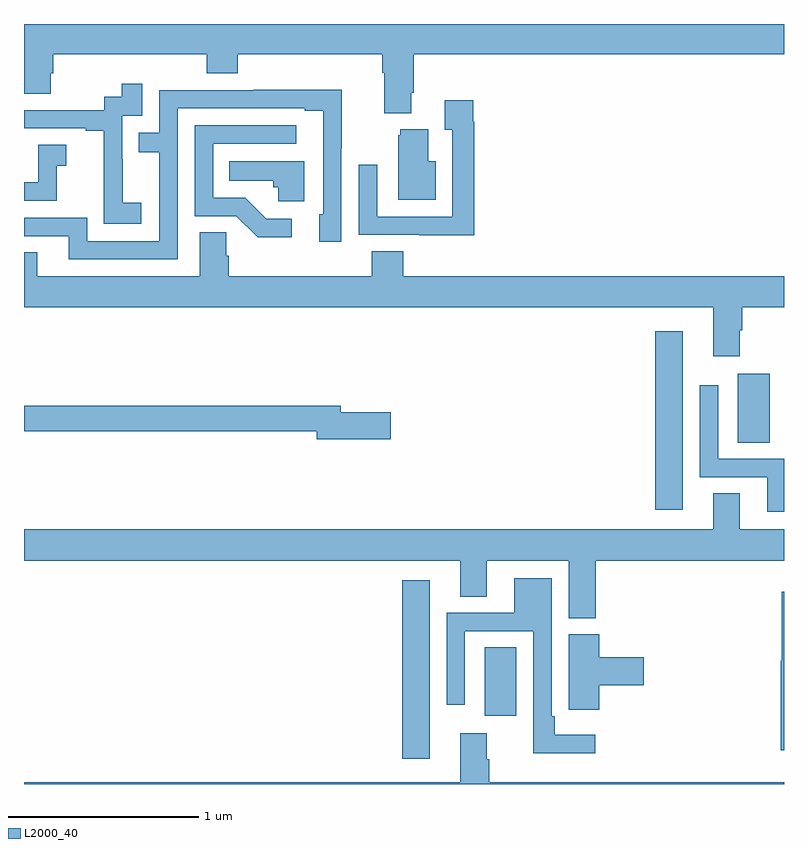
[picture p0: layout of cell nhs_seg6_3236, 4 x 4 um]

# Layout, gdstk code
import gdstk
lib = gdstk.Library(unit=1e-6, precision=1e-09)
def R(c, l, rs):  # rectangles x0, y0, x1, y1
    for r in rs: c.add(gdstk.rectangle(r[:2], r[2:], *l))
def P(c, l, *ps):  # polygons
    for p in ps: c.add(gdstk.Polygon(p, *l))
L2000_40 = (2000, 40)

nhs_seg6_3236 = lib.new_cell('nhs_seg6_3236')
R(nhs_seg6_3236, L2000_40, [(302.99,939.633,303.136,940.573), (303.425,939.858,303.592,940.22), (304.322,940.944,304.468,941.884), (304.757,941.296,304.924,941.659)])
P(nhs_seg6_3236, L2000_40, [(301,943.132),(301.141,943.132),(301.141,943.242),(301.154,943.242),(301.154,943.34),(301.961,943.34),(301.961,943.241),(302.126,943.241),(302.126,943.34),(302.885,943.34),(302.885,943.244),(302.897,943.244),(302.897,943.031),(303.037,943.031),(303.037,943.138),(303.05,943.138),(303.05,943.34),(305,943.34),(305,943.5),(301,943.5)],
  [(301.618,942.559),(301.52,942.559),(301.52,942.788),(301.518,942.788),(301.518,943.017),(301.623,943.017),(301.623,943.186),(301.515,943.186),(301.515,943.116),(301.422,943.116),(301.422,943.047),(301,943.047),(301,942.951),(301.325,942.951),(301.325,942.939),(301.421,942.939),(301.421,942.655),(301.42,942.655),(301.42,942.449),(301.618,942.449)],
  [(301.809,943.056),(302.477,943.056),(302.477,943.044),(302.574,943.044),(302.574,942.498),(302.555,942.498),(302.555,942.354),(302.67,942.354),(302.67,942.847),(302.673,942.847),(302.673,943.154),(302.209,943.154),(302.209,943.152),(301.713,943.152),(301.713,942.927),(301.603,942.927),(301.603,942.826),(301.713,942.826),(301.713,942.357),(301.332,942.357),(301.332,942.48),(301,942.48),(301,942.384),(301.235,942.384),(301.235,942.261),(301.809,942.261)],
  [(303.371,942.986),(303.364,942.986),(303.364,943.099),(303.215,943.099),(303.215,942.943),(303.255,942.943),(303.255,942.486),(302.859,942.486),(302.859,942.76),(302.763,942.76),(302.763,942.39),(303.079,942.39),(303.079,942.389),(303.371,942.389)],
  [(302.41,942.474),(302.275,942.474),(302.164,942.585),(301.995,942.585),(301.995,942.87),(302.434,942.87),(302.434,942.966),(301.899,942.966),(301.899,942.489),(302.118,942.489),(302.231,942.377),(302.41,942.377)],
  [(303.166,942.778),(303.127,942.778),(303.127,942.946),(302.981,942.946),(302.981,942.915),(302.969,942.915),(302.969,942.575),(303.166,942.575)],
  [(301.173,942.755),(301.222,942.755),(301.222,942.865),(301.074,942.865),(301.074,942.666),(301,942.666),(301,942.57),(301.173,942.57)],
  [(302.476,942.778),(302.08,942.778),(302.08,942.674),(302.311,942.674),(302.311,942.642),(302.337,942.642),(302.337,942.566),(302.476,942.566)],
  [(304.768,941.888),(304.781,941.888),(304.781,942.008),(305,942.008),(305,942.172),(302.996,942.172),(302.996,942.305),(302.831,942.305),(302.831,942.172),(302.078,942.172),(302.078,942.281),(302.064,942.281),(302.064,942.404),(301.925,942.404),(301.925,942.172),(301.069,942.172),(301.069,942.299),(301,942.299),(301,942.008),(304.628,942.008),(304.628,941.751),(304.768,941.751)],
  [(305,941.211),(304.653,941.211),(304.653,941.599),(304.557,941.599),(304.557,941.115),(304.913,941.115),(304.913,940.934),(305,940.934)],
  [(302.929,941.456),(302.668,941.456),(302.668,941.492),(301,941.492),(301,941.356),(302.54,941.356),(302.54,941.314),(302.929,941.314)],
  [(304.01,940.676),(305,940.676),(305,940.84),(304.768,940.84),(304.768,941.03),(304.628,941.03),(304.628,940.84),(301,940.84),(301,940.676),(303.296,940.676),(303.296,940.486),(303.436,940.486),(303.436,940.676),(303.866,940.676),(303.866,940.372),(304.01,940.372)],
  [(304.006,939.76),(303.793,939.76),(303.793,939.856),(303.777,939.856),(303.777,940.582),(303.581,940.582),(303.581,940.401),(303.225,940.401),(303.225,939.918),(303.321,939.918),(303.321,940.305),(303.681,940.305),(303.681,939.662),(304.006,939.662)],
  [(305,940.513),(304.988,940.513),(304.988,940.149),(304.982,940.149),(304.982,939.678),(305,939.678)],
  [(304.028,940.019),(304.261,940.019),(304.261,940.166),(304.028,940.166),(304.028,940.287),(303.866,940.287),(303.866,940.003),(303.867,940.003),(303.867,939.891),(304.028,939.891)],
  [(305,939.508),(303.449,939.508),(303.449,939.629),(303.436,939.629),(303.436,939.766),(303.296,939.766),(303.296,939.508),(301,939.508),(301,939.5),(305,939.5)])

lib.write_gds('nhs_seg6_3236.gds')
